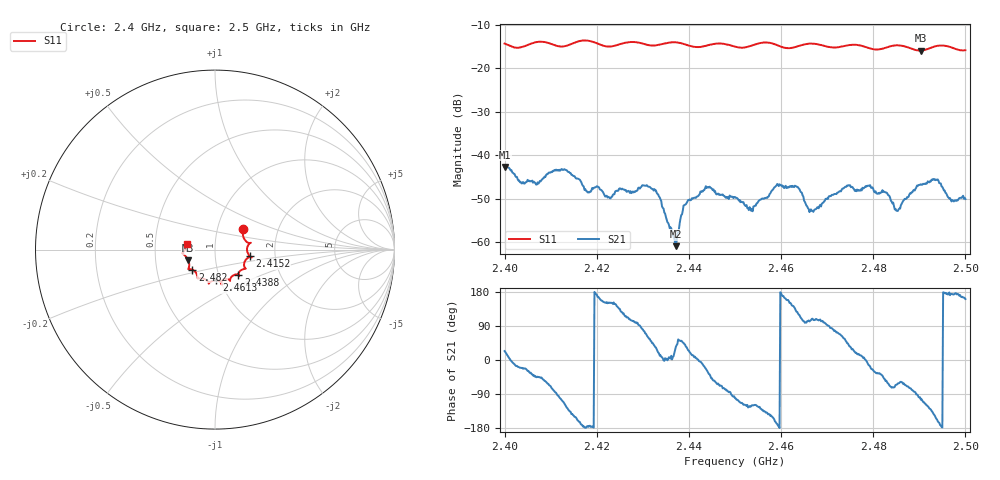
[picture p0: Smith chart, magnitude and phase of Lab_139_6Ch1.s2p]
# Hz S RI R 50
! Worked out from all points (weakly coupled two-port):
!   601 points, 2.4 GHz to 2.5 GHz, reference 50 ohm
!   highest |S21| = -42.64 dB at 2.4 GHz (marker M1); lowest = -60.9 dB at 2.4372 GHz (marker M2)
!   lowest |S11| = -15.9 dB at 2.4903 GHz (marker M3), VSWR 1.38, Z = 36.8 - j4.43 ohm
!   |S11| at or under -10 dB: start of sweep to end of sweep
!   S12 and S22 are empty: the file has one direction only
!   S11 on the Smith chart (normalised r, x): 2.4 GHz: 1.33, +0.31; 2.4152 GHz: 1.48, -0.11; 2.4388 GHz: 1.24, -0.36; 2.4613 GHz: 0.96, -0.34; 2.482 GHz: 0.76, -0.17; 2.5 GHz: 0.72, +0.05
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2.4e9  0.1573 0.1122  0.00677 0.00294  0 0  0 0
2.403833e9  0.1695 0.0506  0.00446 -0.0017  0 0  0 0
2.415167e9  0.1941 -0.0373  -0.00499 -0.0029  0 0  0 0
2.416667e9  0.2039 -0.0436  -0.00483 -0.000809  0 0  0 0
2.422833e9  0.1641 -0.0703  -0.00283 0.00153  0 0  0 0
2.430333e9  0.1559 -0.1098  0.00112 0.00436  0 0  0 0
2.433333e9  0.1321 -0.1314  0.00335 0.00119  0 0  0 0
2.437167e9  0.1349 -0.1471  0.000742 0.000517  0 0  0 0
2.438833e9  0.1298 -0.1409  0.00188 0.00187  0 0  0 0
2.444e9  0.085 -0.1632  0.00376 -0.00213  0 0  0 0
2.45e9  0.0686 -0.1646  -0.000627 -0.00327  0 0  0 0
2.453333e9  0.0368 -0.1773  -0.00136 -0.00206  0 0  0 0
2.461333e9  0.0078 -0.1711  -0.00392 0.00158  0 0  0 0
2.4635e9  -0.0222 -0.1777  -0.0026 0.00346  0 0  0 0
2.466667e9  -0.0346 -0.19  -0.000729 0.00218  0 0  0 0
2.4745e9  -0.0904 -0.1611  0.00325 0.00311  0 0  0 0
2.482e9  -0.1261 -0.1119  0.00298 -0.00264  0 0  0 0
2.483333e9  -0.1399 -0.1089  0.00157 -0.0031  0 0  0 0
2.485333e9  -0.1492 -0.1087  0.00108 -0.00203  0 0  0 0
2.490333e9  -0.1495 -0.0587  -0.00119 -0.0045  0 0  0 0
2.4935e9  -0.1783 -0.024  -0.00453 -0.00254  0 0  0 0
2.5e9  -0.1587 0.0327  -0.00298 0.00103  0 0  0 0
